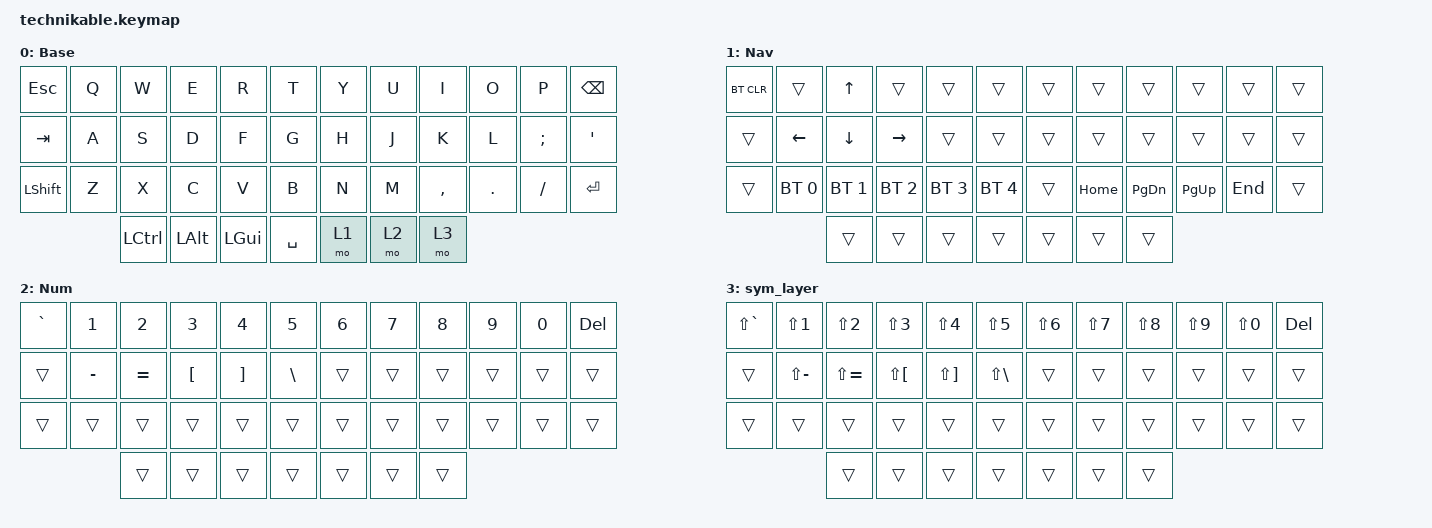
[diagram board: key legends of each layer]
/*
 * Copyright (c) 2022 Pete Johanson
 *
 * SPDX-License-Identifier: MIT
 */

#include <behaviors.dtsi>
#include <dt-bindings/zmk/bt.h>
#include <dt-bindings/zmk/keys.h>

#define BAS_L 0
#define NAV_L 1
#define NUM_L 2
#define SYM_L 3

// Using layer taps on thumbs, having quick tap as well helps w/ repeating space/backspace

&lt { quick_tap_ms = <200>; };

/ {
    chosen { zmk,matrix_transform = &mit_transform; };

    conditional_layers { compatible = "zmk,conditional-layers"; };

    keymap {
        compatible = "zmk,keymap";

        base_layer {
            label = "Base";
            bindings = <
&kp ESC    &kp Q  &kp W      &kp E         &kp R     &kp T        &kp Y  &kp U  &kp I      &kp O    &kp P     &kp BACKSPACE
&kp TAB    &kp A  &kp S      &kp D         &kp F     &kp G        &kp H  &kp J  &kp K      &kp L    &kp SEMI  &kp SQT
&kp LSHFT  &kp Z  &kp X      &kp C         &kp V     &kp B        &kp N  &kp M  &kp COMMA  &kp DOT  &kp FSLH  &kp ENTER
                  &kp LCTRL  &kp LEFT_ALT  &kp LGUI  &kp SPACE    &mo 1  &mo 2  &mo 3
            >;
        };

        nav_layer {
            label = "Nav";
            bindings = <
&bt BT_CLR  &trans        &kp UP_ARROW  &trans        &trans        &trans          &trans  &trans    &trans     &trans     &trans   &trans
&trans      &kp LEFT      &kp DOWN      &kp RIGHT     &trans        &trans          &trans  &trans    &trans     &trans     &trans   &trans
&trans      &bt BT_SEL 0  &bt BT_SEL 1  &bt BT_SEL 2  &bt BT_SEL 3  &bt BT_SEL 4    &trans  &kp HOME  &kp PG_DN  &kp PG_UP  &kp END  &trans
                          &trans        &trans        &trans        &trans          &trans  &trans    &trans
            >;
        };

        num_layer {
            label = "Num";
            bindings = <
&kp GRAVE  &kp NUMBER_1  &kp NUMBER_2  &kp NUMBER_3      &kp NUMBER_4       &kp N5           &kp NUMBER_6  &kp N7  &kp N8  &kp N9  &kp N0  &kp DEL
&trans     &kp MINUS     &kp EQUAL     &kp LEFT_BRACKET  &kp RIGHT_BRACKET  &kp BACKSLASH    &trans        &trans  &trans  &trans  &trans  &trans
&trans     &trans        &trans        &trans            &trans             &trans           &trans        &trans  &trans  &trans  &trans  &trans
                         &trans        &trans            &trans             &trans           &trans        &trans  &trans
            >;
        };

        sym_layer {
            bindings = <
&kp LS(GRAVE)  &kp LS(NUMBER_1)  &kp LS(NUMBER_2)  &kp LS(NUMBER_3)      &kp LS(NUMBER_4)       &kp LS(N5)           &kp LS(NUMBER_6)  &kp LS(N7)  &kp LS(N8)  &kp LS(N9)  &kp LS(N0)  &kp DELETE
&trans         &kp LS(MINUS)     &kp LS(EQUAL)     &kp LS(LEFT_BRACKET)  &kp LS(RIGHT_BRACKET)  &kp LS(BACKSLASH)    &trans            &trans      &trans      &trans      &trans      &trans
&trans         &trans            &trans            &trans                &trans                 &trans               &trans            &trans      &trans      &trans      &trans      &trans
                                 &trans            &trans                &trans                 &trans               &trans            &trans      &trans
            >;
        };
    };
};
